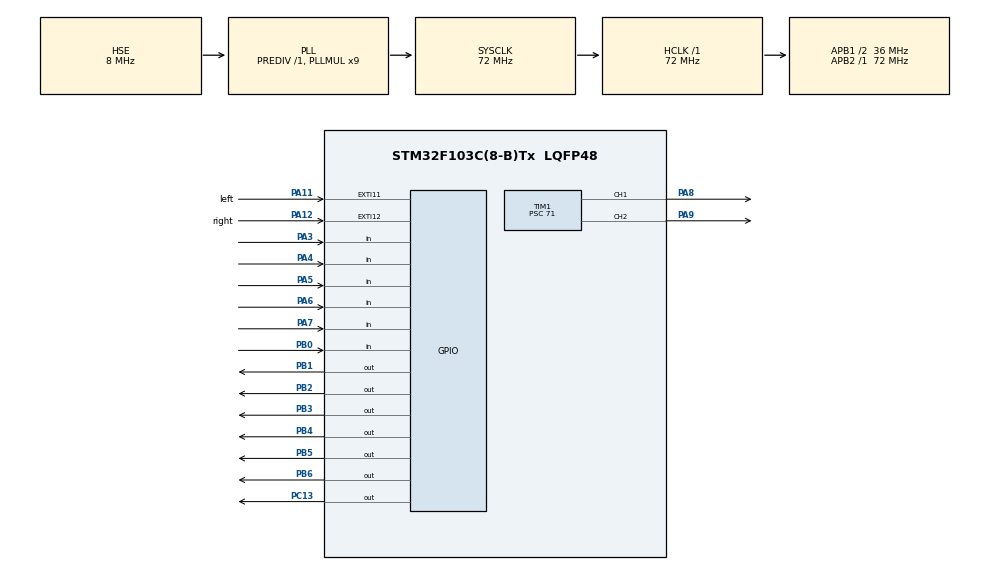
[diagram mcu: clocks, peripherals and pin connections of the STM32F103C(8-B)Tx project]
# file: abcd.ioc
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Mcu.Family=STM32F1
Mcu.Name=STM32F103C(8-B)Tx
Mcu.Package=LQFP48
NVIC.EXTI15_10_IRQn=true\:0\:0\:false\:false\:true\:true
NVIC.PriorityGroup=NVIC_PRIORITYGROUP_4
NVIC.TIM1_UP_IRQn=true\:0\:0\:false\:false\:true\:true
PA11.GPIO_Label=left
PA11.Signal=GPXTI11
PA12.GPIO_Label=right
PA12.Signal=GPXTI12
PA13.Mode=Serial_Wire
PA13.Signal=SYS_JTMS-SWDIO
PA14.Mode=Serial_Wire
PA14.Signal=SYS_JTCK-SWCLK
PA3.Signal=GPIO_Input
PA4.Signal=GPIO_Input
PA5.Signal=GPIO_Input
PA6.Signal=GPIO_Input
PA7.Signal=GPIO_Input
PA8.Signal=S_TIM1_CH1
PA9.Signal=S_TIM1_CH2
PB0.Signal=GPIO_Input
PB1.PinState=GPIO_PIN_SET
PB1.Signal=GPIO_Output
PB2.Signal=GPIO_Output
PB3.PinState=GPIO_PIN_SET
PB3.Signal=GPIO_Output
PB4.Signal=GPIO_Output
PB5.Signal=GPIO_Output
PB6.Signal=GPIO_Output
PC13-TAMPER-RTC.PinState=GPIO_PIN_RESET
PC13-TAMPER-RTC.Signal=GPIO_Output
PC14-OSC32_IN.Mode=LSE-External-Oscillator
PC14-OSC32_IN.Signal=RCC_OSC32_IN
PC15-OSC32_OUT.Mode=LSE-External-Oscillator
PC15-OSC32_OUT.Signal=RCC_OSC32_OUT
PD0-OSC_IN.Mode=HSE-External-Oscillator
PD0-OSC_IN.Signal=RCC_OSC_IN
PD1-OSC_OUT.Mode=HSE-External-Oscillator
PD1-OSC_OUT.Signal=RCC_OSC_OUT
ProjectManager.HeapSize=0x200
ProjectManager.StackSize=0x400
ProjectManager.TargetToolchain=MDK-ARM V5
RCC.AHBFreq_Value=72000000
RCC.APB1CLKDivider=RCC_HCLK_DIV2
RCC.APB1Freq_Value=36000000
RCC.APB1TimFreq_Value=72000000
RCC.APB2Freq_Value=72000000
RCC.APB2TimFreq_Value=72000000
RCC.HCLKFreq_Value=72000000
RCC.PLLMUL=RCC_PLL_MUL9
RCC.PLLSourceVirtual=RCC_PLLSOURCE_HSE
RCC.SYSCLKFreq_VALUE=72000000
RCC.SYSCLKSource=RCC_SYSCLKSOURCE_PLLCLK
RCC.USBFreq_Value=72000000
SH.S_TIM1_CH1.0=TIM1_CH1,PWM Generation1 CH1
SH.S_TIM1_CH2.0=TIM1_CH2,PWM Generation2 CH2
TIM1.Channel-PWM\ Generation1\ CH1=TIM_CHANNEL_1
TIM1.Channel-PWM\ Generation2\ CH2=TIM_CHANNEL_2
TIM1.Period=999
TIM1.Prescaler=71
VP_TIM1_VS_ClockSourceINT.Mode=Internal
board=abcd

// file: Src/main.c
/**
  ******************************************************************************
  * File Name          : main.c
  * Description        : Main program body
  ******************************************************************************
  ** This notice applies to any and all portions of this file
  * that are not between comment pairs USER CODE BEGIN and
  * USER CODE END. Other portions of this file, whether
  * inserted by the user or by software development tools
  * are owned by their respective copyright owners.
  *
  * COPYRIGHT(c) 2019 STMicroelectronics
  *
  * Redistribution and use in source and binary forms, with or without modification,
  * are permitted provided that the following conditions are met:
  *   1. Redistributions of source code must retain the above copyright notice,
  *      this list of conditions and the following disclaimer.
  *   2. Redistributions in binary form must reproduce the above copyright notice,
  *      this list of conditions and the following disclaimer in the documentation
  *      and/or other materials provided with the distribution.
  *   3. Neither the name of STMicroelectronics nor the names of its contributors
  *      may be used to endorse or promote products derived from this software
  *      without specific prior written permission.
  *
  * THIS SOFTWARE IS PROVIDED BY THE COPYRIGHT HOLDERS AND CONTRIBUTORS "AS IS"
  * AND ANY EXPRESS OR IMPLIED WARRANTIES, INCLUDING, BUT NOT LIMITED TO, THE
  * IMPLIED WARRANTIES OF MERCHANTABILITY AND FITNESS FOR A PARTICULAR PURPOSE ARE
  * DISCLAIMED. IN NO EVENT SHALL THE COPYRIGHT HOLDER OR CONTRIBUTORS BE LIABLE
  * FOR ANY DIRECT, INDIRECT, INCIDENTAL, SPECIAL, EXEMPLARY, OR CONSEQUENTIAL
  * DAMAGES (INCLUDING, BUT NOT LIMITED TO, PROCUREMENT OF SUBSTITUTE GOODS OR
  * SERVICES; LOSS OF USE, DATA, OR PROFITS; OR BUSINESS INTERRUPTION) HOWEVER
  * CAUSED AND ON ANY THEORY OF LIABILITY, WHETHER IN CONTRACT, STRICT LIABILITY,
  * OR TORT (INCLUDING NEGLIGENCE OR OTHERWISE) ARISING IN ANY WAY OUT OF THE USE
  * OF THIS SOFTWARE, EVEN IF ADVISED OF THE POSSIBILITY OF SUCH DAMAGE.
  *
  ******************************************************************************
  */

#include "main.h"
#include "stm32f1xx_hal.h"

TIM_HandleTypeDef htim1;

/* USER CODE BEGIN PV */
/* Private variables ---------------------------------------------------------*/
int16_t LeftSpeed=0,RightSpeed=0;
	int16_t left_speed_desire1;		//سʏǚλ̙׈
int16_t right_speed_desire1;		//Ԓʏǚλ̙׈

int32_t speed_error_left_pre1=0;
int32_t speed_error_right_pre1=0;

int16_t left1;           //ʹԃքسʏҠëǷ݆˽ֵ
int16_t right1;          //ʹԃքԒʏҠëǷ݆˽ֵ
int circle=0;
int pause=0;

/* USER CODE END PV */

void SystemClock_Config(void);
static void MX_GPIO_Init(void);
static void MX_TIM1_Init(void);
void HAL_TIM_MspPostInit(TIM_HandleTypeDef *htim);

/* USER CODE BEGIN PFP */
/* Private function prototypes -----------------------------------------------*/
int FindBarrier(void);
void Motor(int);
void Run(int,int);
void Back(void);
/* USER CODE END PFP */

int main(void)
{

  /* USER CODE BEGIN 1 */
  //int LeftBarrier=0,RightBarrier=0.,FrontBarrier=0;    //前方 左右是否有障�? 1为有 0为无

	int Mode;                                            //根据障碍情况调整前进方式 0前进 1左转 2右转 3后�??

  /* USER CODE END 1 */

  /* MCU Configuration----------------------------------------------------------*/

  /* Reset of all peripherals, Initializes the Flash interface and the Systick. */
  HAL_Init();

  /* Configure the system clock */
  SystemClock_Config();

  /* Initialize all configured peripherals */
  MX_GPIO_Init();
  MX_TIM1_Init();

  /* USER CODE BEGIN 2 */
 HAL_TIM_Base_Start_IT(&htim1);
 HAL_TIM_Base_Init(&htim1);
 HAL_TIM_PWM_Start(&htim1,TIM_CHANNEL_1);
 HAL_TIM_PWM_Start(&htim1,TIM_CHANNEL_2);

  /* USER CODE END 2 */

  /* Infinite loop */
  while (1)
  {

  /* USER CODE BEGIN 3 */
   //HAL_GPIO_WritePin(GPIOB, 1,GPIO_PIN_SET);
	//HAL_GPIO_WritePin(GPIOC, GPIO_PIN_13,GPIO_PIN_SET);
	  Mode=FindBarrier();
		Motor(Mode);
			HAL_Delay(10);
			//if(HAL_GPIO_ReadPin(GPIOA,GPIO_PIN_5)==GPIO_PIN_RESET)
				HAL_GPIO_TogglePin(GPIOC, GPIO_PIN_13);

  }
  /* USER CODE END 3 */

}

/** System Clock Configuration
*/
void SystemClock_Config(void)
{

  RCC_OscInitTypeDef RCC_OscInitStruct;
  RCC_ClkInitTypeDef RCC_ClkInitStruct;

    /**Initializes the CPU, AHB and APB busses clocks
    */
  RCC_OscInitStruct.OscillatorType = RCC_OSCILLATORTYPE_HSE;
  RCC_OscInitStruct.HSEState = RCC_HSE_ON;
  RCC_OscInitStruct.HSEPredivValue = RCC_HSE_PREDIV_DIV1;
  RCC_OscInitStruct.HSIState = RCC_HSI_ON;
  RCC_OscInitStruct.PLL.PLLState = RCC_PLL_ON;
  RCC_OscInitStruct.PLL.PLLSource = RCC_PLLSOURCE_HSE;
  RCC_OscInitStruct.PLL.PLLMUL = RCC_PLL_MUL9;
  if (HAL_RCC_OscConfig(&RCC_OscInitStruct) != HAL_OK)
  {
    _Error_Handler(__FILE__, __LINE__);
  }

    /**Initializes the CPU, AHB and APB busses clocks
    */
  RCC_ClkInitStruct.ClockType = RCC_CLOCKTYPE_HCLK|RCC_CLOCKTYPE_SYSCLK
                              |RCC_CLOCKTYPE_PCLK1|RCC_CLOCKTYPE_PCLK2;
  RCC_ClkInitStruct.SYSCLKSource = RCC_SYSCLKSOURCE_PLLCLK;
  RCC_ClkInitStruct.AHBCLKDivider = RCC_SYSCLK_DIV1;
  RCC_ClkInitStruct.APB1CLKDivider = RCC_HCLK_DIV2;
  RCC_ClkInitStruct.APB2CLKDivider = RCC_HCLK_DIV1;

  if (HAL_RCC_ClockConfig(&RCC_ClkInitStruct, FLASH_LATENCY_2) != HAL_OK)
  {
    _Error_Handler(__FILE__, __LINE__);
  }

    /**Configure the Systick interrupt time
    */
  HAL_SYSTICK_Config(HAL_RCC_GetHCLKFreq()/1000);

    /**Configure the Systick
    */
  HAL_SYSTICK_CLKSourceConfig(SYSTICK_CLKSOURCE_HCLK);

  /* SysTick_IRQn interrupt configuration */
  HAL_NVIC_SetPriority(SysTick_IRQn, 0, 0);
}

/* TIM1 init function */
static void MX_TIM1_Init(void)
{

  TIM_ClockConfigTypeDef sClockSourceConfig;
  TIM_MasterConfigTypeDef sMasterConfig;
  TIM_OC_InitTypeDef sConfigOC;
  TIM_BreakDeadTimeConfigTypeDef sBreakDeadTimeConfig;

  htim1.Instance = TIM1;
  htim1.Init.Prescaler = 71;
  htim1.Init.CounterMode = TIM_COUNTERMODE_UP;
  htim1.Init.Period = 999;
  htim1.Init.ClockDivision = TIM_CLOCKDIVISION_DIV1;
  htim1.Init.RepetitionCounter = 0;
  htim1.Init.AutoReloadPreload = TIM_AUTORELOAD_PRELOAD_DISABLE;
  if (HAL_TIM_Base_Init(&htim1) != HAL_OK)
  {
    _Error_Handler(__FILE__, __LINE__);
  }

  sClockSourceConfig.ClockSource = TIM_CLOCKSOURCE_INTERNAL;
  if (HAL_TIM_ConfigClockSource(&htim1, &sClockSourceConfig) != HAL_OK)
  {
    _Error_Handler(__FILE__, __LINE__);
  }

  if (HAL_TIM_PWM_Init(&htim1) != HAL_OK)
  {
    _Error_Handler(__FILE__, __LINE__);
  }

  sMasterConfig.MasterOutputTrigger = TIM_TRGO_RESET;
  sMasterConfig.MasterSlaveMode = TIM_MASTERSLAVEMODE_DISABLE;
  if (HAL_TIMEx_MasterConfigSynchronization(&htim1, &sMasterConfig) != HAL_OK)
  {
    _Error_Handler(__FILE__, __LINE__);
  }

  sConfigOC.OCMode = TIM_OCMODE_PWM1;
  sConfigOC.Pulse = 0;
  sConfigOC.OCPolarity = TIM_OCPOLARITY_HIGH;
  sConfigOC.OCNPolarity = TIM_OCNPOLARITY_HIGH;
  sConfigOC.OCFastMode = TIM_OCFAST_DISABLE;
  sConfigOC.OCIdleState = TIM_OCIDLESTATE_RESET;
  sConfigOC.OCNIdleState = TIM_OCNIDLESTATE_RESET;
  if (HAL_TIM_PWM_ConfigChannel(&htim1, &sConfigOC, TIM_CHANNEL_1) != HAL_OK)
  {
    _Error_Handler(__FILE__, __LINE__);
  }

  if (HAL_TIM_PWM_ConfigChannel(&htim1, &sConfigOC, TIM_CHANNEL_2) != HAL_OK)
  {
    _Error_Handler(__FILE__, __LINE__);
  }

  sBreakDeadTimeConfig.OffStateRunMode = TIM_OSSR_DISABLE;
  sBreakDeadTimeConfig.OffStateIDLEMode = TIM_OSSI_DISABLE;
  sBreakDeadTimeConfig.LockLevel = TIM_LOCKLEVEL_OFF;
  sBreakDeadTimeConfig.DeadTime = 0;
  sBreakDeadTimeConfig.BreakState = TIM_BREAK_DISABLE;
  sBreakDeadTimeConfig.BreakPolarity = TIM_BREAKPOLARITY_HIGH;
  sBreakDeadTimeConfig.AutomaticOutput = TIM_AUTOMATICOUTPUT_DISABLE;
  if (HAL_TIMEx_ConfigBreakDeadTime(&htim1, &sBreakDeadTimeConfig) != HAL_OK)
  {
    _Error_Handler(__FILE__, __LINE__);
  }

  HAL_TIM_MspPostInit(&htim1);

}

/** Configure pins as
        * Analog
        * Input
        * Output
        * EVENT_OUT
        * EXTI
*/
static void MX_GPIO_Init(void)
{

  GPIO_InitTypeDef GPIO_InitStruct;

  /* GPIO Ports Clock Enable */
  __HAL_RCC_GPIOC_CLK_ENABLE();
  __HAL_RCC_GPIOD_CLK_ENABLE();
  __HAL_RCC_GPIOA_CLK_ENABLE();
  __HAL_RCC_GPIOB_CLK_ENABLE();

  /*Configure GPIO pin Output Level */
  HAL_GPIO_WritePin(GPIOC, GPIO_PIN_13, GPIO_PIN_RESET);

  /*Configure GPIO pin Output Level */
  HAL_GPIO_WritePin(GPIOB, GPIO_PIN_1|GPIO_PIN_3, GPIO_PIN_SET);

  /*Configure GPIO pin Output Level */
  HAL_GPIO_WritePin(GPIOB, GPIO_PIN_2|GPIO_PIN_4|GPIO_PIN_5|GPIO_PIN_6, GPIO_PIN_RESET);

  /*Configure GPIO pin : PC13 */
  GPIO_InitStruct.Pin = GPIO_PIN_13;
  GPIO_InitStruct.Mode = GPIO_MODE_OUTPUT_PP;
  GPIO_InitStruct.Speed = GPIO_SPEED_FREQ_LOW;
  HAL_GPIO_Init(GPIOC, &GPIO_InitStruct);

  /*Configure GPIO pins : PA3 PA4 PA5 PA6
                           PA7 */
  GPIO_InitStruct.Pin = GPIO_PIN_3|GPIO_PIN_4|GPIO_PIN_5|GPIO_PIN_6
                          |GPIO_PIN_7;
  GPIO_InitStruct.Mode = GPIO_MODE_INPUT;
  GPIO_InitStruct.Pull = GPIO_NOPULL;
  HAL_GPIO_Init(GPIOA, &GPIO_InitStruct);

  /*Configure GPIO pin : PB0 */
  GPIO_InitStruct.Pin = GPIO_PIN_0;
  GPIO_InitStruct.Mode = GPIO_MODE_INPUT;
  GPIO_InitStruct.Pull = GPIO_NOPULL;
  HAL_GPIO_Init(GPIOB, &GPIO_InitStruct);

  /*Configure GPIO pins : PB1 PB2 PB3 PB4
                           PB5 PB6 */
  GPIO_InitStruct.Pin = GPIO_PIN_1|GPIO_PIN_2|GPIO_PIN_3|GPIO_PIN_4
                          |GPIO_PIN_5|GPIO_PIN_6;
  GPIO_InitStruct.Mode = GPIO_MODE_OUTPUT_PP;
  GPIO_InitStruct.Speed = GPIO_SPEED_FREQ_LOW;
  HAL_GPIO_Init(GPIOB, &GPIO_InitStruct);

  /*Configure GPIO pins : left_Pin right_Pin */
  GPIO_InitStruct.Pin = left_Pin|right_Pin;
  GPIO_InitStruct.Mode = GPIO_MODE_IT_RISING;
  GPIO_InitStruct.Pull = GPIO_NOPULL;
  HAL_GPIO_Init(GPIOA, &GPIO_InitStruct);

  /* EXTI interrupt init*/
  HAL_NVIC_SetPriority(EXTI15_10_IRQn, 0, 0);
  HAL_NVIC_EnableIRQ(EXTI15_10_IRQn);

}

/* USER CODE BEGIN 4 */
void HAL_TIM_PeriodElapsedCallback(TIM_HandleTypeDef *htim)//tim1时钟中断回调函数
{
	int a=0;
	  if (htim->Instance == TIM1)
		{
			if(circle>=20)
			{
				left1=LeftSpeed;

				right1=RightSpeed;
				/*if(left1==0||right1==0)
					a+=1;
				else
					a=0;
				if(a>=3)
					pause=20;
				LeftSpeed=0;
				RightSpeed=0;
				*/
								LeftSpeed=0;
				RightSpeed=0;
				circle=0;

			//	HAL_GPIO_TogglePin(GPIOC, GPIO_PIN_13);
			 }
			circle += 1 ;
   //HAL_GPIO_TogglePin(GPIOC, GPIO_PIN_13);//回调函数
		}
}
void HAL_GPIO_EXTI_Callback(uint16_t GPIO_Pin)//GPIO口中断回调函�?
{
	//HAL_GPIO_TogglePin(GPIOB, GPIO_PIN_1);
	HAL_GPIO_TogglePin(GPIOC, GPIO_PIN_13);
	if(GPIO_Pin==left_Pin)
		LeftSpeed+=1;
	if(GPIO_Pin==right_Pin)
		RightSpeed+=1;

}

int FindBarrier(void)
{
	int a=0,b=0,c=0,d=0,e=0,f=0;  //前左，前右，左 右四个方向读取的传感器情况    1为有障碍  0为无障碍
	int mode;
	if(HAL_GPIO_ReadPin(GPIOA,GPIO_PIN_3)==GPIO_PIN_RESET)
		a=1;
	if(HAL_GPIO_ReadPin(GPIOA,GPIO_PIN_4)==GPIO_PIN_RESET)
		b=1;
	if(HAL_GPIO_ReadPin(GPIOA,GPIO_PIN_5)==GPIO_PIN_RESET)
		c=1;
	if(HAL_GPIO_ReadPin(GPIOA,GPIO_PIN_6)==GPIO_PIN_RESET)
		d=1;
	if(HAL_GPIO_ReadPin(GPIOA,GPIO_PIN_7)==GPIO_PIN_RESET)
		e=1;
	if(HAL_GPIO_ReadPin(GPIOB,GPIO_PIN_0)==GPIO_PIN_RESET)
		f=1;
	//if(a==0||b==0)//Mode从0到5依次为直行，左转，右转，左修正，右修正
		if(a==0&&b==0&&c==0&&d==0)

{ mode=0;
if(c==1)
	mode=4;
if(d==1)
	mode=5;}
//	else	if(a==1&&b==0&&c==1)
	//		mode=5;
	//	else if(a==0&&b==1&&d==1)
	//		mode=4；
	else if(e==0)
	{
		mode=1;
	}
	else if(f==0)
	{
		mode=2;
	}
	else
	{
		mode=3;
	}
	//if(c!=0&&d!=0&&a==0&&b==0)
		//return mode=0;
	//if((a!=0&&c!=0)||(b!=0&&d!=0))
		//return mode=3;
	//if(a==0&&b!=0)
		//mode=6;
	//else if(a!=0&&b==0)
		//mode=7;
	return mode;
}

void Motor(int mode)
{
		//int StraightSpeed=50,TurnSpeed=0,RepairSpeed=40;                         //直行速度和转向鿟�?   转向时一侧轮保持原鿿 丿侧轮采取较低的转向鿟度
	  int StraightSpeed=20,TurnSpeed=0,RepairSpeed=10,BackSpeed=-20,SlowTurnSpeed=10;
	switch(mode){
		case 0:Run(StraightSpeed,StraightSpeed);break;
	  case 1: Run(TurnSpeed,StraightSpeed+10);break;
	  case 2:Run(StraightSpeed+10,TurnSpeed);break;
	  case 3:  Run(SlowTurnSpeed,-SlowTurnSpeed);break;
		//case 3:Run(BackSpeed,BackSpeed);HAL_Delay(50);break;
		case 4: Run(RepairSpeed,StraightSpeed);break;
		case 5:Run(StraightSpeed,RepairSpeed);break;
		//case 6:Run(TurnSpeed,StraightSpeed+10);HAL_Delay(30);break;
		//case 7:Run(StraightSpeed+10,TurnSpeed);HAL_Delay(30);break;

	}
}

void Back()
{

			HAL_GPIO_WritePin(GPIOB, GPIO_PIN_3,GPIO_PIN_SET);
		HAL_GPIO_WritePin(GPIOB,GPIO_PIN_4,GPIO_PIN_RESET);
		HAL_GPIO_WritePin(GPIOB, GPIO_PIN_5,GPIO_PIN_SET);
		HAL_GPIO_WritePin(GPIOB, GPIO_PIN_6,GPIO_PIN_RESET);
	  __HAL_TIM_SET_COMPARE((&htim1),TIM_CHANNEL_1,500);
	  __HAL_TIM_SET_COMPARE((&htim1),TIM_CHANNEL_2,500);
	HAL_Delay(100);

}
void Run(int left_speed_desire1,int right_speed_desire1 )   //�?左一�?
{
	int error_sum_left1 = 0;
  int error_sum_right1 = 0;

	int32_t speed_error_left1=0;
	int32_t speed_error_right1=0;
	int32_t errD_l1,errD_r1;

	static int32_t pwm_left1=0;
  static int32_t pwm_right1=0;
  float pwm_Kp = 16, pwm_Ki = 0.9, pwm_Kd=0;

  int ERR_SUM_LIMIT=2000;

		speed_error_left1 = left_speed_desire1 - left1;
		speed_error_right1 = right_speed_desire1 - right1;

		errD_l1=speed_error_left1-speed_error_left_pre1;
		errD_r1=speed_error_right1-speed_error_right_pre1;

		error_sum_left1 += speed_error_left1;
		error_sum_right1 += speed_error_right1;

		pwm_left1 =  pwm_Kp*speed_error_left1 + pwm_Ki*error_sum_left1 +pwm_Kd*errD_l1;
		pwm_right1 =   pwm_Kp*speed_error_right1 + pwm_Ki*error_sum_right1 +pwm_Kd*errD_r1;

		if(error_sum_left1>ERR_SUM_LIMIT)
		{
			error_sum_left1=ERR_SUM_LIMIT;
		}
		else if(error_sum_left1<-ERR_SUM_LIMIT)
		{
			error_sum_left1=-ERR_SUM_LIMIT;
		}
		if(error_sum_right1>ERR_SUM_LIMIT)
		{
			error_sum_right1=ERR_SUM_LIMIT;
		}
		else if(error_sum_right1<-ERR_SUM_LIMIT)
		{
			error_sum_right1=-ERR_SUM_LIMIT;
		}

if(pwm_left1>=0)
{
		HAL_GPIO_WritePin(GPIOB, GPIO_PIN_3,GPIO_PIN_SET);//
		HAL_GPIO_WritePin(GPIOB,GPIO_PIN_4,GPIO_PIN_RESET);
}
else
{
	HAL_GPIO_WritePin(GPIOB, GPIO_PIN_3,GPIO_PIN_RESET);
		HAL_GPIO_WritePin(GPIOB,GPIO_PIN_4,GPIO_PIN_SET);
}
if(pwm_right1>=0)
{
	HAL_GPIO_WritePin(GPIOB, GPIO_PIN_5,GPIO_PIN_RESET);//
		HAL_GPIO_WritePin(GPIOB, GPIO_PIN_6,GPIO_PIN_SET);
}
else{
	HAL_GPIO_WritePin(GPIOB, GPIO_PIN_5,GPIO_PIN_SET);
		HAL_GPIO_WritePin(GPIOB, GPIO_PIN_6,GPIO_PIN_RESET);
}
   __HAL_TIM_SET_COMPARE((&htim1),TIM_CHANNEL_2,pwm_left1);
	 __HAL_TIM_SET_COMPARE((&htim1),TIM_CHANNEL_1,pwm_right1);

}
/* USER CODE END 4 */

void _Error_Handler(char * file, int line)
{
  while(1)
  {
  }
}

/************************ (C) COPYRIGHT STMicroelectronics *****END OF FILE****/
